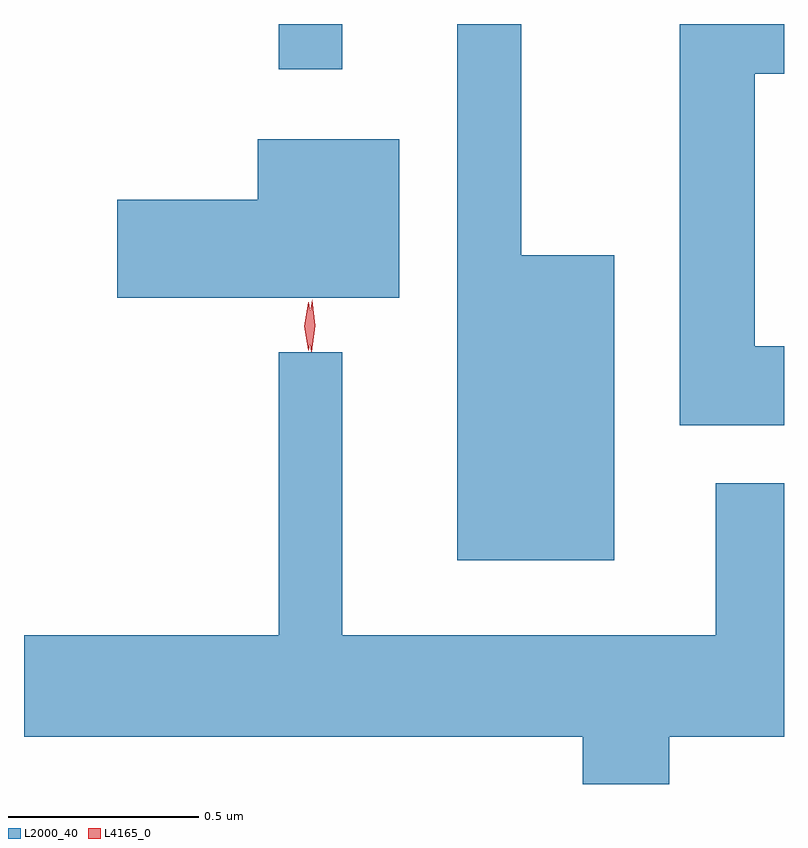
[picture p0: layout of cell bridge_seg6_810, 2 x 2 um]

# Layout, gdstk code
import gdstk
lib = gdstk.Library(unit=1e-6, precision=1e-09)
def R(c, l, rs):  # rectangles x0, y0, x1, y1
    for r in rs: c.add(gdstk.rectangle(r[:2], r[2:], *l))
def P(c, l, *ps):  # polygons
    for p in ps: c.add(gdstk.Polygon(p, *l))
L2000_40 = (2000, 40)
L4165_0 = (4165, 0)

bridge_seg6_810 = lib.new_cell('bridge_seg6_810')
R(bridge_seg6_810, L2000_40, [(496.921,1542.913,497.089,1543.032)])
P(bridge_seg6_810, L2000_40, [(497.804,1542.424),(497.559,1542.424),(497.559,1543.032),(497.391,1543.032),(497.391,1541.621),(497.804,1541.621)],
  [(498.251,1542.184),(498.174,1542.184),(498.174,1542.901),(498.251,1542.901),(498.251,1543.032),(497.976,1543.032),(497.976,1541.976),(498.251,1541.976)],
  [(497.239,1542.729),(496.866,1542.729),(496.866,1542.569),(496.496,1542.569),(496.496,1542.311),(497.239,1542.311)],
  [(497.089,1542.168),(496.921,1542.168),(496.921,1541.424),(496.251,1541.424),(496.251,1541.156),(497.721,1541.156),(497.721,1541.032),(497.949,1541.032),(497.949,1541.156),(498.251,1541.156),(498.251,1541.824),(498.071,1541.824),(498.071,1541.424),(497.089,1541.424)])
P(bridge_seg6_810, L4165_0, [(497.007,1542.17),(497.007,1542.17),(496.998,1542.238),(497.009,1542.305),(497.009,1542.306),(497.01,1542.305),(497.018,1542.238),(497.008,1542.17)],
  [(497,1542.173),(496.999,1542.174),(496.989,1542.236),(496.999,1542.3),(496.999,1542.3),(497,1542.3),(497.009,1542.236),(497,1542.174)])

lib.write_gds('bridge_seg6_810.gds')
